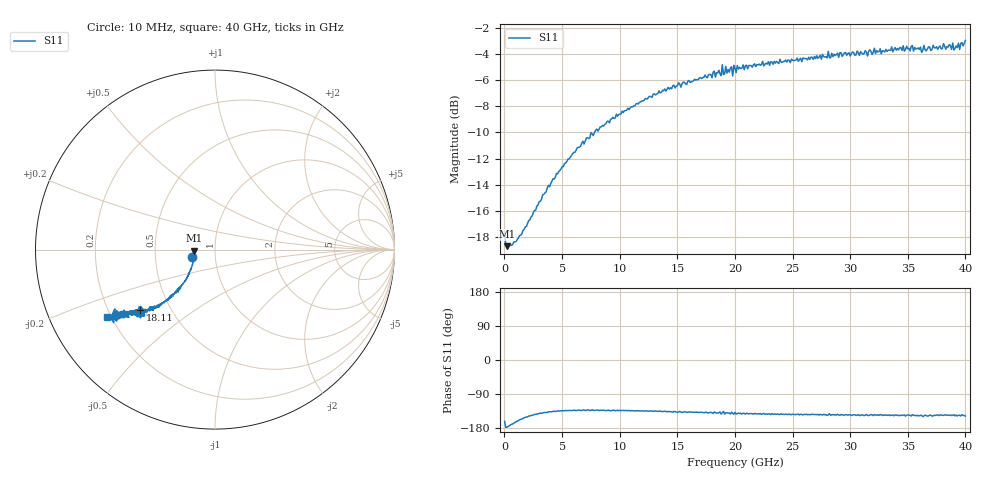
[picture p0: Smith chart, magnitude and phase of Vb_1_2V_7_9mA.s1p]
!Agilent Technologies,N5247A,US51170167,A.09.90.10
!Agilent N5247A: A.09.90.10
!Date: Tuesday, November 22, 2016 15:33:46
!Correction: S22(Full 1 Port(2))
!S1P File: Measurement: S22:
# Hz S  RI  R 50
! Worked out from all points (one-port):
!   401 points, 10 MHz to 40 GHz, reference 50 ohm
!   lowest |S11| = -18.7 dB at 209.9 MHz (marker M1), VSWR 1.26, Z = 39.6 - j0.483 ohm
!   |S11| at or under -10 dB: start of sweep to 7.805 GHz
!   S11 on the Smith chart (normalised r, x): 10 MHz: 0.77, -0.07; 18.11 GHz: 0.34, -0.32; 40 GHz: 0.18, -0.28
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1e7  -0.1256 -0.0414
2.0995e8  -0.1164 -0.00602
3.09925e8  -0.1177 -0.00885
5.09875e8  -0.116 -0.017
1.309675e9  -0.1191 -0.0473
3.6091e9  -0.1403 -0.1245
5.00875e9  -0.1618 -0.17
7.308175e9  -0.1987 -0.2246
1.00075e10  -0.2525 -0.2722
1.24069e10  -0.3002 -0.3009
1.500625e10  -0.3516 -0.3209
1.810548e10  -0.4168 -0.3369
1.860535e10  -0.4146 -0.3555
1.910522e10  -0.4228 -0.3192
2.0005e10  -0.4129 -0.3726
2.12047e10  -0.4497 -0.3485
2.500375e10  -0.4762 -0.3592
2.830292e10  -0.5052 -0.3409
3.00025e10  -0.504 -0.3588
3.100225e10  -0.5178 -0.3692
3.190202e10  -0.5111 -0.3638
3.500125e10  -0.5391 -0.3781
3.52012e10  -0.5372 -0.3604
3.650088e10  -0.5374 -0.3714
3.80005e10  -0.5486 -0.3681
3.900025e10  -0.5301 -0.3798
3.970008e10  -0.5651 -0.4066
4e10  -0.6009 -0.3769
